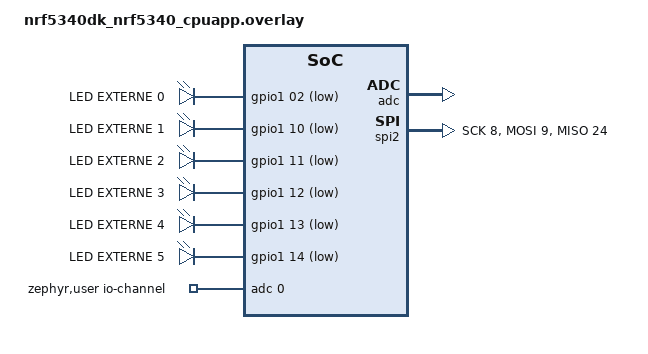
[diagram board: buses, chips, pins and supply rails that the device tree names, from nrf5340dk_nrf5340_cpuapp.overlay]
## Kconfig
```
#
# Copyright (c) 2018 Nordic Semiconductor
#
# SPDX-License-Identifier: LicenseRef-Nordic-5-Clause
#

source "Kconfig.zephyr"

menu "Nordic UART BLE GATT service sample"

config BT_NUS_THREAD_STACK_SIZE
	int "Thread stack size"
	default 1024
	help
	  Stack size used in each of the two threads

config BT_NUS_UART_BUFFER_SIZE
	int "UART payload buffer element size"
	default 240
	help
	  Size of the payload buffer in each RX and TX FIFO element

config BT_NUS_SECURITY_ENABLED
	bool "Enable security"
	default y
	select BT_SMP
	help
	  "Enable BLE security for the UART service"

config BT_NUS_UART_DEV
	string "UART device name"
	default "UART_0"
	help
	  Name of the used UART device. The sample uses uart0 by default.
	  The UART device should not be used as logger backend.

config BT_NUS_UART_RX_WAIT_TIME
	int "Timeout for UART RX complete event"
	default 50
	help
	  Wait for RX complete event time in milliseconds

config BT_NUS_UART_ASYNC_ADAPTER
	bool "Enable UART async adapter"
	select SERIAL_SUPPORT_ASYNC
	help
	  Enables asynchronous adapter for UART drives that supports only
	  IRQ interface.

endmenu
```

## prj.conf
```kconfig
#
# Copyright (c) 2018 Nordic Semiconductor
#
# SPDX-License-Identifier: LicenseRef-Nordic-5-Clause
#

CONFIG_PRINTK=y
CONFIG_COUNTER=y
CONFIG_COUNTER_RTC0=y

# Enable the UART driver
CONFIG_UART_ASYNC_API=y
CONFIG_NRFX_UARTE0=y
CONFIG_SERIAL=y

CONFIG_GPIO=y

#SL: ADC config
CONFIG_STDOUT_CONSOLE=y

CONFIG_ADC=y
CONFIG_ADC_ASYNC=y
CONFIG_ADC_NRFX_SAADC=y
CONFIG_MAIN_STACK_SIZE=4096
CONFIG_FPU=y

# Make sure printk is printing to the UART console
CONFIG_CONSOLE=y
CONFIG_UART_CONSOLE=y
#CONFIG_UART_INTERRUPT_DRIVEN=y

CONFIG_HEAP_MEM_POOL_SIZE=2048

CONFIG_BT=y
CONFIG_BT_PERIPHERAL=y
CONFIG_BT_DEVICE_NAME="Nordic_UART_Service"
CONFIG_BT_DEVICE_APPEARANCE=833
CONFIG_BT_MAX_CONN=1
CONFIG_BT_MAX_PAIRED=1

# Enable the NUS service
CONFIG_BT_NUS=y

# Enable bonding
CONFIG_BT_SETTINGS=y
CONFIG_FLASH=y
CONFIG_FLASH_PAGE_LAYOUT=y
CONFIG_FLASH_MAP=y
CONFIG_NVS=y
CONFIG_SETTINGS=y

# Enable DK LED and Buttons library
CONFIG_DK_LIBRARY=y

# This example requires more workqueue stack
CONFIG_SYSTEM_WORKQUEUE_STACK_SIZE=2048

# Config logger
CONFIG_LOG=y
#SL: adc config
CONFIG_LOG_DEFAULT_LEVEL=4
CONFIG_USE_SEGGER_RTT=y
CONFIG_LOG_BACKEND_RTT=y
CONFIG_LOG_BACKEND_UART=n

CONFIG_ASSERT=y

# SL

CONFIG_BT_USER_DATA_LEN_UPDATE=y
CONFIG_BT_USER_PHY_UPDATE=y
CONFIG_BT_GAP_AUTO_UPDATE_CONN_PARAMS=n

CONFIG_BT_BUF_ACL_RX_SIZE=251
#CONFIG_BT_GATT_CLIENT=y
CONFIG_BT_ATT_PREPARE_COUNT=64
CONFIG_BT_CONN_TX_MAX=255
#CONFIG_BT_CONN_TX_MAX=20
CONFIG_BT_L2CAP_TX_BUF_COUNT=255
CONFIG_BT_L2CAP_TX_MTU=247
CONFIG_BT_L2CAP_DYNAMIC_CHANNEL=y
CONFIG_BT_CTLR_PHY_2M=y
CONFIG_BT_CTLR_RX_BUFFERS=18
CONFIG_BT_BUF_ACL_TX_COUNT=255
CONFIG_BT_BUF_ACL_TX_SIZE=251
CONFIG_BT_CTLR_DATA_LENGTH_MAX=251
CONFIG_BT_BUF_ACL_RX_COUNT=18
#CONFIG_BT_BUF_ACL_RX_COUNT=64
CONFIG_BT_BUF_EVT_RX_COUNT=255

# SPI

CONFIG_SPI=y
CONFIG_NFCT_PINS_AS_GPIOS=y
CONFIG_OPENOCD_SUPPORT=y
CONFIG_DEBUG_OPTIMIZATIONS=y
CONFIG_NRFX_SPIM=y
CONFIG_NRFX_SPIM2=y
CONFIG_NRFX_GPIOTE=y
```

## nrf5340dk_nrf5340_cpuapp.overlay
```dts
/ {
	aliases {
		ledext0 = &ledext0;
                ledext1 = &ledext1;
                ledext2 = &ledext2;
                ledext3 = &ledext3;
                ledext4 = &ledext4;
                ledext5 = &ledext5;
	};
};

/ {
leds {
      compatible = "gpio-leds";
	ledext0: led_ext0 {
		gpios = <&gpio1 02 GPIO_ACTIVE_LOW>; //définir le SPI reset sur le P1.02
		label = "LED EXTERNE 0";
                };
        ledext1: led_ext1 {
        	gpios = <&gpio1 10 GPIO_ACTIVE_LOW>; //définir le led externe 1 sur le P1.10
        	label = "LED EXTERNE 1";
                };

        ledext2: led_ext2 {
        	gpios = <&gpio1 11 GPIO_ACTIVE_LOW>;
        	label = "LED EXTERNE 2";
                };

        ledext3: led_ext3 {
        	gpios = <&gpio1 12 GPIO_ACTIVE_LOW>;
        	label = "LED EXTERNE 3";
                };

        ledext4: led_ext4 {
        	gpios = <&gpio1 13 GPIO_ACTIVE_LOW>;
        	label = "LED EXTERNE 4";
                };

        ledext5: led_ext5 {
        	gpios = <&gpio1 14 GPIO_ACTIVE_LOW>;
        	label = "LED EXTERNE 5";
                };
      };
};

/ {
	zephyr,user {
		/* adjust channel number according to pinmux in board.dts */
		io-channels = <&adc 0>;
	};
};

&adc {
	status = "okay";
};

&uart1 {
	status = "disabled";
};

&spi2{ 
	compatible = "nordic,nrf-spim"; 
	status = "okay";
	sck-pin = <8>;
	mosi-pin = <9>;
	miso-pin = <24>;

	cs-gpios = <&gpio0 2 GPIO_ACTIVE_LOW>;
};
```

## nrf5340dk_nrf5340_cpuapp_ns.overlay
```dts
/ {
	aliases {
		ledext0 = &ledext0;
                ledext1 = &ledext1;
                ledext2 = &ledext2;
                ledext3 = &ledext3;
                ledext4 = &ledext4;
                ledext5 = &ledext5;
	};
};

/ {
leds {
      compatible = "gpio-leds";
	ledext0: led_ext0 {
		gpios = <&gpio1 02 GPIO_ACTIVE_LOW>; //d�finir le SPI reset sur le P1.02
		label = "LED EXTERNE 0";
                };
        ledext1: led_ext1 {
        	gpios = <&gpio1 10 GPIO_ACTIVE_LOW>; //d�finir le led externe 1 sur le P1.10
        	label = "LED EXTERNE 1";
                };

        ledext2: led_ext2 {
        	gpios = <&gpio1 11 GPIO_ACTIVE_LOW>;
        	label = "LED EXTERNE 2";
                };

        ledext3: led_ext3 {
        	gpios = <&gpio1 12 GPIO_ACTIVE_LOW>;
        	label = "LED EXTERNE 3";
                };

        ledext4: led_ext4 {
        	gpios = <&gpio1 13 GPIO_ACTIVE_LOW>;
        	label = "LED EXTERNE 4";
                };

        ledext5: led_ext5 {
        	gpios = <&gpio1 14 GPIO_ACTIVE_LOW>;
        	label = "LED EXTERNE 5";
                };
      };
};

/ {
	zephyr,user {
		/* adjust channel number according to pinmux in board.dts */
		io-channels = <&adc 0>;
	};
};

&adc {
	status = "okay";
};

&uart1 {
	status = "disabled";
};

&spi2{ 
	compatible = "nordic,nrf-spim"; 
	status = "okay";
	sck-pin = <8>;
	mosi-pin = <9>;
	miso-pin = <24>;

	cs-gpios = <&gpio0 2 GPIO_ACTIVE_LOW>;
};
```

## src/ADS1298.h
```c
#ifndef _ADS1298_H
#define _ADS1298_H

#include <stdint.h>
#include <stdbool.h>


#define SPI_INSTANCE 2


#define PIN_SCK NRF_GPIO_PIN_MAP(0, 8)
#define PIN_MOSI NRF_GPIO_PIN_MAP(0, 9)
#define PIN_MISO NRF_GPIO_PIN_MAP(0, 24)
#define PIN_CS NRF_GPIO_PIN_MAP(0, 2)

#define PIN_DRDY NRF_GPIO_PIN_MAP(0, 7)

#define COMMAND_WAKEUP 0x02
#define COMMAND_STANDBY 0x04
#define COMMAND_RESET 0x06
#define COMMAND_START 0x08
#define COMMAND_STOP 0x0A
#define COMMAND_RDATA 0x12
#define COMMAND_RDATAC 0x10
#define COMMAND_SDATAC 0x11
#define COMMAND_RREG 0b00100000
#define COMMAND_WREG 0b01000000


// SPI Command Definition Byte Assignments (Datasheet, pg. 35)
#define ADS129X_CMD_WAKEUP  0x02 // Wake-up from standby mode
#define ADS129X_CMD_STANDBY 0x04 // Enter Standby mode
#define ADS129X_CMD_RESET   0x06 // Reset the device
#define ADS129X_CMD_START   0x08 // Start and restart (synchronize) conversions
#define ADS129X_CMD_STOP    0x0A // Stop conversion
#define ADS129X_CMD_RDATAC  0x10 // Enable Read Data Continuous mode (default mode at power-up)
#define ADS129X_CMD_SDATAC  0x11 // Stop Read Data Continuous mode
#define ADS129X_CMD_RDATA   0x12 // Read data by command; supports multiple read back
#define ADS129X_CMD_RREG    0x20 // (also = 00100000) is the first opcode that the address must be added to for RREG communication
#define ADS129X_CMD_WREG    0x40 // 01000000 in binary (Datasheet, pg. 35)



#define ADS129X_REG_ID         0x00 // ID Control Register
#define ADS129X_REG_CONFIG1    0x01 // Configuration Register 1
#define ADS129X_REG_CONFIG2    0x02 // Configuration Register 2
#define ADS129X_REG_CONFIG3    0x03 // Configuration Register 3
#define ADS129X_REG_LOFF       0x04 // Lead-Off Control Register
#define ADS129X_REG_CH1SET     0x05 // Individual Channel Settings 1-8
#define ADS129X_REG_CH2SET     0x06 // ---
#define ADS129X_REG_CH3SET     0x07 // ---
#define ADS129X_REG_CH4SET     0x08 // ---
#define ADS129X_REG_CH5SET     0x09 // ---
#define ADS129X_REG_CH6SET     0x0A // ---
#define ADS129X_REG_CH7SET     0x0B // ---
#define ADS129X_REG_CH8SET     0x0C // ---
#define ADS129X_REG_RLD_SENSP  0x0D // Right Leg Drive, positive side
#define ADS129X_REG_RLD_SENSN  0x0E // Right Leg Drive, negative side
#define ADS129X_REG_LOFF_SENSP 0x0F // Lead-Off Detection, positive side
#define ADS129X_REG_LOFF_SENSN 0x10 // Lead-Off Detection, negative side
#define ADS129X_REG_LOFF_FLIP  0x11 // Lead-Off Detection, current direction
#define ADS129X_REG_LOFF_STATP 0x12 // Electrode Status, positive (read-only)
#define ADS129X_REG_LOFF_STATN 0x13 // Electrode Status, negative (read-only)
#define ADS129X_REG_GPIO       0x14 // General-Purpose I/O Register
#define ADS129X_REG_PACE       0x15 // PACE Detect Register
#define ADS129X_REG_RESP       0x16 // Respiration Control Register
#define ADS129X_REG_CONFIG4    0x17 // Configuration Register 4
#define ADS129X_REG_WCT1       0x18 // Wilson Central Terminal and Augmented Lead Control Register
#define ADS129X_REG_WCT2       0x19 // Wilson Central Terminal Control Register

// IDs
#define ADS129X_ID_ADS1294  0x90
#define ADS129X_ID_ADS1296  0x91
#define ADS129X_ID_ADS1298  0x92
#define ADS129X_ID_ADS1294R 0xD0
#define ADS129X_ID_ADS1296R 0xD1
#define ADS129X_ID_ADS1298R 0xD2

// Configuration Register 1
#define ADS129X_BIT_HR       0x7
#define ADS129X_BIT_DAISY_EN 0x6
#define ADS129X_BIT_CLK_EN   0x5
// always 0
// always 0
#define ADS129X_BIT_DR2      0x2
#define ADS129X_BIT_DR1      0x1
#define ADS129X_BIT_DR0      0x0

// Configuration Register 2
// always 0
// always 0
#define ADS129X_BIT_WCT_CHOP   0x5
#define ADS129X_BIT_INT_TEST   0x4
// always 0
#define ADS129X_BIT_TEST_AMP   0x2
#define ADS129X_BIT_TEST_FREQ1 0x1
#define ADS129X_BIT_TEST_FREQ0 0x0
#define ADS129X_TEST_FREQ_1HZ  0x0
#define ADS129X_TEST_FREQ_2HZ  0x1
#define ADS129X_TEST_FREQ_DC   0x3

// Configuration Register 3
#define ADS129X_BIT_PD_REFBUF     0x7
// always 1
#define ADS129X_BIT_VREF_4V       0x5
#define ADS129X_BIT_RLD_MEAS      0x4
#define ADS129X_BIT_RLDREF_INT    0x3
#define ADS129X_BIT_PD_RLD        0x2
#define ADS129X_BIT_RLD_LOFF_SENS 0x1
#define ADS129X_BIT_RLD_STAT      0x0

// Lead-Off Control Register
#define ADS129X_BIT_COMP_TH2     0x7
#define ADS129X_BIT_COMP_TH1     0x6
#define ADS129X_BIT_COMP_TH0     0x5
#define ADS129X_BIT_VLEAD_OFF_EN 0x4
#define ADS129X_BIT_ILEAD_OFF1   0x3
#define ADS129X_BIT_ILEAD_OFF0   0x2
#define ADS129X_BIT_FLEAD_OFF1   0x1
#define ADS129X_BIT_FLEAD_OFF0   0x0

// Individual Channel Settings
#define ADS129X_BIT_PD    0x7
#define ADS129X_BIT_GAIN2 0x6
#define ADS129X_BIT_GAIN1 0x5
#define ADS129X_BIT_GAIN0 0x4
// always 0
#define ADS129X_BIT_MUX2  0x2
#define ADS129X_BIT_MUX1  0x1
#define ADS129X_BIT_MUX0  0x0

// Channel Select
#define ADS129X_BIT_CH8 0x7
#define ADS129X_BIT_CH7 0x6
#define ADS129X_BIT_CH6 0x5
#define ADS129X_BIT_CH5 0x4
#define ADS129X_BIT_CH4 0x3
#define ADS129X_BIT_CH3 0x2
#define ADS129X_BIT_CH2 0x1
#define ADS129X_BIT_CH1 0x0

// General-Purpose I/O Register
#define ADS129X_BIT_GPIOD4 0x7
#define ADS129X_BIT_GPIOD3 0x6
#define ADS129X_BIT_GPIOD2 0x5
#define ADS129X_BIT_GPIOD1 0x4
#define ADS129X_BIT_GPIOC4 0x3
#define ADS129X_BIT_GPIOC3 0x2
#define ADS129X_BIT_GPIOC2 0x1
#define ADS129X_BIT_GPIOC1 0x0

// PACE Detect Register
// always 0
// always 0
// always 0
#define ADS129X_BIT_PACEE1  0x4
#define ADS129X_BIT_PACEE0  0x3
#define ADS129X_BIT_PACEO1  0x2
#define ADS129X_BIT_PACEO0  0x1
#define ADS129X_BIT_PD_PACE 0x0

// Respiration Control Register
#define ADS129X_BIT_RESP_DEMOD_EN1 0x7
#define ADS129X_BIT_RESP_MOD_EN1   0x6
// always 1
#define ADS129X_BIT_RESP_PH2       0x4
#define ADS129X_BIT_RESP_PH1       0x3
#define ADS129X_BIT_RESP_PH0       0x2
#define ADS129X_BIT_RESP_CTRL1     0x1
#define ADS129X_BIT_RESP_CTRL0     0x0

// Configuration Register 4
#define ADS129X_BIT_RESP_FREQ2   0x7
#define ADS129X_BIT_RESP_FREQ1   0x6
#define ADS129X_BIT_RESP_FREQ0   0x5
// always 0
#define ADS129X_BIT_SINGLE_SHOT  0x3
#define ADS129X_BIT_WCT_TO_RLD   0x2
#define ADS129X_BIT_PD_LOFF_COMP 0x1
// always 0

// Wilson Central Terminal and Augmented Lead Control Register
#define ADS129X_BIT_aVF_CH6 0x7
#define ADS129X_BIT_aVF_CH5 0x6
#define ADS129X_BIT_aVF_CH7 0x5
#define ADS129X_BIT_aVF_CH4 0x4
#define ADS129X_BIT_PD_WCTA 0x3
#define ADS129X_BIT_WCTA2   0x2
#define ADS129X_BIT_WCTA1   0x1
#define ADS129X_BIT_WCTA0   0x0

// Wilson Central Terminal Control Register
#define ADS129X_BIT_PD_WCTC 0x7
#define ADS129X_BIT_PD_WCTB 0x6
#define ADS129X_BIT_WCTB2   0x5
#define ADS129X_BIT_WCTB1   0x4
#define ADS129X_BIT_WCTB0   0x3
#define ADS129X_BIT_WCTC2   0x2
#define ADS129X_BIT_WCTC1   0x1
#define ADS129X_BIT_WCTC0   0x0

// Gain Configuration
#define ADS129X_GAIN_6X     0x0
#define ADS129X_GAIN_1X     0x1
#define ADS129X_GAIN_2X     0x2
#define ADS129X_GAIN_3X     0x3
#define ADS129X_GAIN_4X     0x4
#define ADS129X_GAIN_8X     0x5
#define ADS129X_GAIN_12X    0x6

// Mux Configuration
#define ADS129X_MUX_NORMAL      0x0 // Normal electrode input (default)
#define ADS129X_MUX_SHORT       0x1 // Input shorted (for offset or noise measurements)
#define ADS129X_MUX_RLD_MEAS    0x2 // Used in conjunction with RLD_MEAS bit for RLD measurements
#define ADS129X_MUX_MVDD        0x3 // MVDD for supply measurement
#define ADS129X_MUX_TEMP        0x4 // Temperature sensor
#define ADS129X_MUX_TEST        0x5 // Test signal
#define ADS129X_MUX_RLD_DRP     0x6 // RLD_DRP (positive electrode is the driver)
#define ADS129X_MUX_RLD_DRN     0x7 // RLD_DRN (negative electrode is the driver)

// Sample-rate Configuration
#define ADS129X_SAMPLERATE_LP_250 	0x46
#define ADS129X_SAMPLERATE_LP_500  	0x45
#define ADS129X_SAMPLERATE_LP_1K  	0x44
#define ADS129X_SAMPLERATE_LP_2K  	0x43
#define ADS129X_SAMPLERATE_LP_4K   	0x42
#define ADS129X_SAMPLERATE_LP_8K  	0x41
#define ADS129X_SAMPLERATE_LP_16K       0x40

// channel Info
#define GAIN_ONE                                          0x10
#define GAIN_TWO                                          0x20
#define GAIN_THREE                                        0x30
#define GAIN_FOUR                                         0x40
#define GAIN_SIX                                          0x00
#define GAIN_EIGHT                                        0x50
#define GAIN_TWELVE                                       0x60
#define TURN_OFF_CHANNEL                                  0x80
#define INPUT_SHORT                                       0x01



bool ads1298_write_multiple_register(uint8_t reg, uint8_t* val, uint8_t num);
bool ads1298_write_register(uint8_t reg, uint8_t val);


uint8_t ads1298_read_register_kar(uint8_t reg);
bool ADS1298_send_command(uint8_t command);
bool ADS1298_init();
bool ADS1298_send_start();
bool ADS1298_send_stop();
bool ADS1298_send_reset();
bool ADS1298_send_wakeup();
bool ADS1298_send_read_continuous();
bool ADS1298_send_stop_read_continuous();
bool ADS1298_poll_new_data();
bool get_spi_busy();



typedef struct ADS1298_data
{
    uint8_t lead_off_positive;
    uint8_t lead_off_negative;
    bool gpio_0;
    bool gpio_1;
    bool gpio_2;
    bool gpio_3;
    int32_t channgel_0;
    int32_t channgel_1;
    int32_t channgel_2;
    int32_t channgel_3;
    int32_t channgel_4;
    int32_t channgel_5;
    int32_t channgel_6;
    int32_t channgel_7;
} ADS1298_data_t;


typedef struct data_8chs
{
    int32_t channel_1;
    int32_t channel_2;
    int32_t channel_3;
    int32_t channel_4;
    int32_t channel_5;
    int32_t channel_6;
    int32_t channel_7;
    int32_t channel_8;

} data_8chs_t;


#endif /* _ADS1298_H */
```
